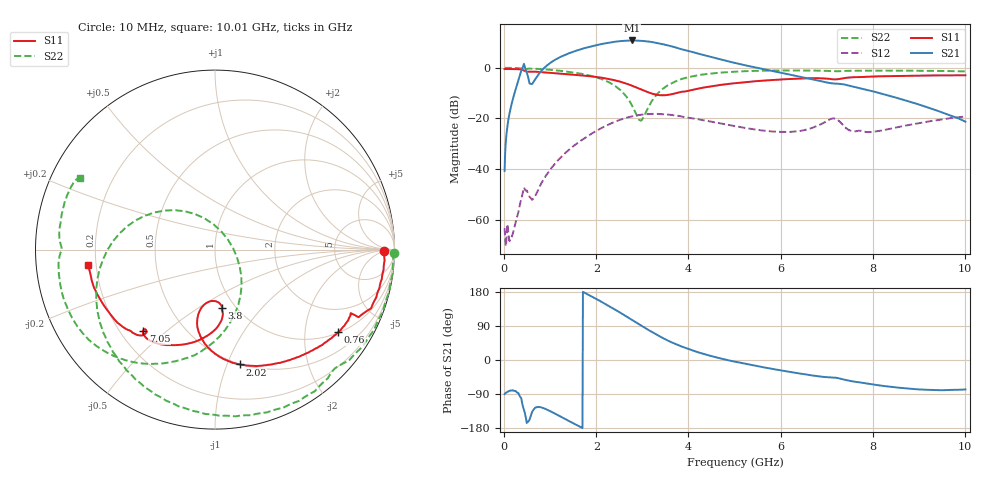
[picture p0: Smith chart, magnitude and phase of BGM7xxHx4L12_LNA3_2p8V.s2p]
! (c) 2014 Infineon Technologies AG
! BGM7xxHx4L12 - Silicon Germanium Quad-Band LTE LNA bank
! 20 May 2014
! Special Application Board
! C1 = L1 = 0 Ohm
! C2 = 100 nF
! Vcc = 2.8V
! RF input and output lines de-embedded
! Port 1 reference plane: LNA input AI (pin 1)
! Port 2 reference plane: LNA output AO (pin 4)
! Network Data:
! Measured BGM7xxHx4L12 device level s-parameters
# GHz S MA R 50
!Freq  MagS11  AngS11  MagS21  AngS21  MagS12  AngS12  MagS22  AngS22
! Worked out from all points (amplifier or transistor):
!   1001 points, 10 MHz to 10.01 GHz, reference 50 ohm
!   highest |S21| = 10.8 dB at 2.77 GHz (marker M1)
!   |S21| within 3 dB of that: 1.752 GHz to 3.763 GHz (2.011 GHz wide, 72.9 % of centre)
!   unconditionally stable (mu >= 1): start of sweep to end of sweep
!   at 1.67 GHz: K = 1.81, MAG = 12.8 dB, |S12| = -28.7 dB
!   at 5.01 GHz: K = 1.44, MAG = 8.5 dB, |S12| = -23.1 dB
!   at 10.01 GHz: K = 6.70, MAG = -12.3 dB, |S12| = -19.2 dB
!   lowest NFmin = 0.70 dB at 2.5 GHz
!   S11 on the Smith chart (normalised r, x): 10 MHz: 33, -5; 760 MHz: 1.02, -2.96; 2.02 GHz: 0.50, -1.11; 3.8 GHz: 0.87, -0.63; 7.05 GHz: 0.29, -0.42; 10.01 GHz: 0.17, -0.06
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0.01  0.9428 -0.5  0.009163 -90.0  0.0006764 84.0  0.9972 -0.9
0.13  0.946 -6.9  0.142 -80.6  0.0004275 -132.6  0.9988 -14.0
0.3  0.9364 -16.0  0.5316 -87.0  0.001316 -155.6  0.9842 -32.1
0.38  0.9202 -21.3  0.8939 -107.2  0.002718 -176.2  0.9625 -40.5
0.46  0.8586 -25.1  0.9526 -145.4  0.003813 142.7  0.9442 -46.8
0.53  0.8371 -25.7  0.5992 -161.1  0.003152 125.6  0.9581 -52.9
0.62  0.8389 -28.4  0.4965 -134.3  0.002516 146.1  0.9615 -61.9
0.76  0.8258 -33.9  0.7691 -124.2  0.004287 168.9  0.9448 -75.0
1.2  0.7669 -49.5  1.602 -147.7  0.0159 165.3  0.8739 -111.7
1.68  0.706 -65.7  2.345 -178.2  0.03708 147.7  0.7599 -147.4
2.02  0.6542 -77.9  2.819 159.8  0.05791 132.8  0.6384 -172.6
2.39  0.5694 -91.3  3.252 134.3  0.08463 114.3  0.4476 156.4
2.77  0.4452 -102.7  3.465 106.0  0.1097 92.4  0.1847 108.6
2.98  0.3714 -104.4  3.397 90.3  0.1181 80.0  0.09112 22.5
3.35  0.2889 -95.2  3.052 64.0  0.1226 59.6  0.323 -65.7
3.8  0.3268 -83.1  2.397 37.9  0.1116 40.2  0.5767 -98.3
4.35  0.4095 -86.0  1.763 15.2  0.09101 27.4  0.7435 -121.3
5.01  0.4962 -97.5  1.246 -4.6  0.07028 22.2  0.8384 -137.9
6.68  0.6232 -125.8  0.5953 -40.7  0.06473 52.2  0.881 -170.2
7.05  0.6045 -131.5  0.5026 -45.6  0.09369 46.0  0.8642 -178.1
8.35  0.6834 -146.5  0.2816 -70.3  0.06177 55.3  0.8778 160.8
10.01  0.7104 -173.0  0.08618 -77.5  0.1098 57.4  0.8492 152.0
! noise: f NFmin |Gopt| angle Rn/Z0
2.3  0.7508  0.4753  80.48  0.1622
2.4  0.7569  0.4181  77.03  0.1454
2.5  0.7003  0.5372  69.39  0.1714
2.6  0.7088  0.4348  65.3  0.1605
2.68  0.7383  0.4691  68.71  0.1718
